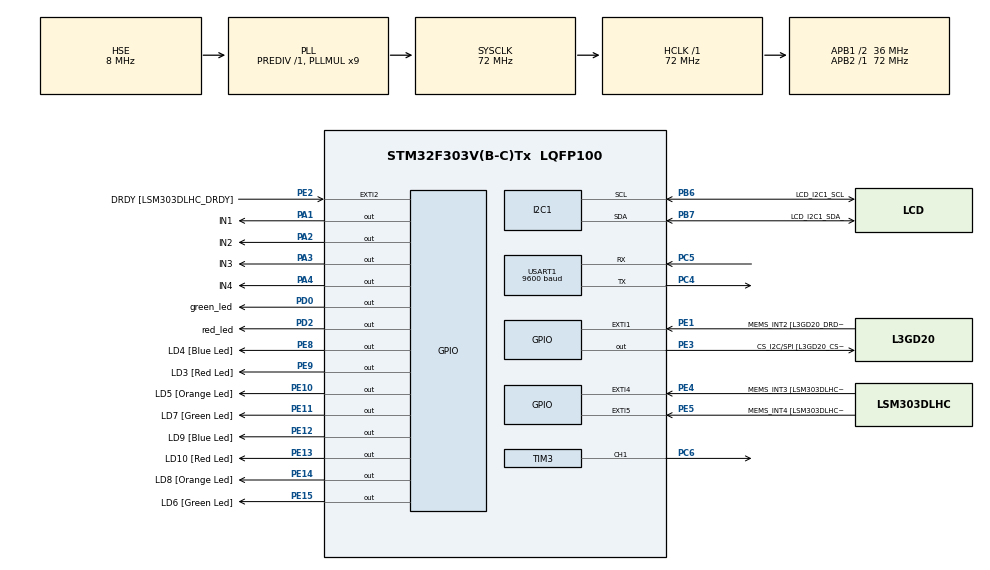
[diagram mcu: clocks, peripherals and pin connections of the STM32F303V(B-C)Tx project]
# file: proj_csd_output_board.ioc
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I2C1.Timing-I2C=0x2000090E
Mcu.Family=STM32F3
Mcu.Name=STM32F303V(B-C)Tx
Mcu.Package=LQFP100
NVIC.PriorityGroup=NVIC_PRIORITYGROUP_0
NVIC.USART1_IRQn=true\:0\:0\:false\:false\:true\:true\:true\:true
PA1.GPIO_Label=IN1
PA1.GPIO_Speed=GPIO_SPEED_FREQ_HIGH
PA1.Signal=GPIO_Output
PA11.GPIO_Label=DM
PA11.Signal=USB_DM
PA12.GPIO_Label=DP
PA12.Signal=USB_DP
PA13.GPIO_Label=SWDIO
PA13.Signal=SYS_JTMS-SWDIO
PA14.GPIO_Label=SWCLK
PA14.Signal=SYS_JTCK-SWCLK
PA2.GPIO_Label=IN2
PA2.GPIO_Speed=GPIO_SPEED_FREQ_HIGH
PA2.Signal=GPIO_Output
PA3.GPIO_Label=IN3
PA3.GPIO_Speed=GPIO_SPEED_FREQ_HIGH
PA3.Signal=GPIO_Output
PA4.GPIO_Label=IN4
PA4.GPIO_Speed=GPIO_SPEED_FREQ_HIGH
PA4.Signal=GPIO_Output
PA5.GPIO_Label=SPI1_SCK [L3GD20_SCL/SPC]
PA5.Signal=SPI1_SCK
PA6.GPIO_Label=SPI1_MISO [L3GD20_SA0/SDO]
PA6.Signal=SPI1_MISO
PA7.GPIO_Label=SPI1_MISO [L3GD20_SDA/SDI/SDO]
PA7.Signal=SPI1_MOSI
PB3.GPIO_Label=SWO
PB3.Signal=SYS_JTDO-TRACESWO
PB6.GPIO_Label=LCD_I2C1_SCL
PB6.GPIO_Pu=GPIO_PULLUP
PB6.Mode=I2C
PB6.Signal=I2C1_SCL
PB7.GPIO_Label=LCD_I2C1_SDA_
PB7.GPIO_Pu=GPIO_PULLUP
PB7.Mode=I2C
PB7.Signal=I2C1_SDA
PC14-OSC32_IN.GPIO_Label=OSC32_IN
PC14-OSC32_IN.Signal=RCC_OSC32_IN
PC15-OSC32_OUT.GPIO_Label=OSC32_OUT
PC15-OSC32_OUT.Signal=RCC_OSC32_OUT
PC4.GPIO_Speed=GPIO_SPEED_FREQ_LOW
PC4.Mode=Asynchronous
PC4.Signal=USART1_TX
PC5.GPIO_Speed=GPIO_SPEED_FREQ_LOW
PC5.Mode=Asynchronous
PC5.Signal=USART1_RX
PC6.Signal=S_TIM3_CH1
PD0.GPIO_Label=green_led
PD0.PinState=GPIO_PIN_SET
PD0.Signal=GPIO_Output
PD2.GPIO_Label=red_led
PD2.PinState=GPIO_PIN_SET
PD2.Signal=GPIO_Output
PE1.GPIO_Label=MEMS_INT2 [L3GD20_DRDY/INT2]
PE1.GPIO_ModeDefaultEXTI=GPIO_MODE_EVT_RISING
PE1.Signal=GPXTI1
PE10.GPIO_Label=LD5 [Orange Led]
PE10.Signal=GPIO_Output
PE11.GPIO_Label=LD7 [Green Led]
PE11.Signal=GPIO_Output
PE12.GPIO_Label=LD9 [Blue Led]
PE12.Signal=GPIO_Output
PE13.GPIO_Label=LD10 [Red Led]
PE13.Signal=GPIO_Output
PE14.GPIO_Label=LD8 [Orange Led]
PE14.Signal=GPIO_Output
PE15.GPIO_Label=LD6 [Green Led]
PE15.Signal=GPIO_Output
PE2.GPIO_Label=DRDY [LSM303DLHC_DRDY]
PE2.GPIO_ModeDefaultEXTI=GPIO_MODE_EVT_RISING
PE2.Signal=GPXTI2
PE3.GPIO_Label=CS_I2C/SPI [L3GD20_CS_I2C/SPI]
PE3.Signal=GPIO_Output
PE4.GPIO_Label=MEMS_INT3 [LSM303DLHC_INT1]
PE4.GPIO_ModeDefaultEXTI=GPIO_MODE_EVT_RISING
PE4.Signal=GPXTI4
PE5.GPIO_Label=MEMS_INT4 [LSM303DLHC_INT2]
PE5.GPIO_ModeDefaultEXTI=GPIO_MODE_EVT_RISING
PE5.Signal=GPXTI5
PE8.GPIO_Label=LD4 [Blue Led]
PE8.Signal=GPIO_Output
PE9.GPIO_Label=LD3 [Red Led]
PE9.Signal=GPIO_Output
PF0-OSC_IN.GPIO_Label=OSC_IN
PF0-OSC_IN.Mode=HSE-External-Clock-Source
PF0-OSC_IN.Signal=RCC_OSC_IN
PF1-OSC_OUT.GPIO_Label=OSC_OUT
PF1-OSC_OUT.Signal=RCC_OSC_OUT
ProjectManager.HeapSize=0x200
ProjectManager.StackSize=0x400
ProjectManager.TargetToolchain=STM32CubeIDE
RCC.AHBFreq_Value=72000000
RCC.APB1CLKDivider=RCC_HCLK_DIV2
RCC.APB1Freq_Value=36000000
RCC.APB1TimFreq_Value=72000000
RCC.APB2Freq_Value=72000000
RCC.APB2TimFreq_Value=72000000
RCC.CortexFreq_Value=72000000
RCC.HCLKFreq_Value=72000000
RCC.HSE_VALUE=8000000
RCC.HSI_VALUE=8000000
RCC.LSE_VALUE=32768
RCC.PLLMUL=RCC_PLL_MUL9
RCC.PLLSourceVirtual=RCC_PLLSOURCE_HSE
RCC.PRESCALERUSB=RCC_USBCLKSOURCE_PLL_DIV1_5
RCC.SYSCLKFreq_VALUE=72000000
RCC.SYSCLKSourceVirtual=RCC_SYSCLKSOURCE_PLLCLK
RCC.USBFreq_Value=48000000
SH.S_TIM3_CH1.0=TIM3_CH1,PWM Generation1 CH1
TIM2.Period=0xffffffff-1
TIM2.Prescaler=7200-1
TIM3.Channel-PWM\ Generation1\ CH1=TIM_CHANNEL_1
TIM3.Period=100-1
TIM3.Prescaler=1800-1
USART1.BaudRate=9600
USART1.VirtualMode-Asynchronous=VM_ASYNC
VP_TIM2_VS_ClockSourceINT.Mode=Internal
VP_TIM3_VS_ClockSourceINT.Mode=Internal
board=STM32F3DISCOVERY

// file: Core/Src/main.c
/* USER CODE BEGIN Header */
/**
  ******************************************************************************
  * @file           : main.c
  * @brief          : Main program body
  ******************************************************************************
  * @attention
  *
  * Copyright (c) 2022 STMicroelectronics.
  * All rights reserved.
  *
  * This software is licensed under terms that can be found in the LICENSE file
  * in the root directory of this software component.
  * If no LICENSE file comes with this software, it is provided AS-IS.
  *
  ******************************************************************************
  */
/* USER CODE END Header */
#include "main.h"

/* USER CODE BEGIN Includes */
#include "lcd_i2c.h"
#include "stepper_motor.h"
#include "timer.h"
/* USER CODE END Includes */

 I2C_HandleTypeDef hi2c1;

TIM_HandleTypeDef htim2;
TIM_HandleTypeDef htim3;

UART_HandleTypeDef huart1;

/* USER CODE BEGIN PV */
uint8_t recvbuffer[5]; //buffer di ricezione, conterrà il pin o la card utilizzato
uint8_t card[4] = {0x83, 0x16, 0xD4, 0x1E}; //UID card abilitata allo sblocco della serratura
uint8_t pass[4] = "1234"; //Pin abilitato allo sblocco della serratura
int cont = 0; //contatore di caratteri ricevuti
uint8_t flag_err; //riconosce se la sequenza trasmessa è valida oppure no (0x01 -> ERRORE, 0x00 -> OK)
uint8_t send = 0x00; //ACK da trasmettere per sbloccare il trasmettitore

/* USER CODE END PV */

void SystemClock_Config(void);
static void MX_GPIO_Init(void);
static void MX_I2C1_Init(void);
static void MX_TIM2_Init(void);
static void MX_USART1_UART_Init(void);
static void MX_TIM3_Init(void);

/* USER CODE BEGIN 0 */

uint8_t flag_compare_card(uint8_t * card_send){

		uint8_t flag = 0x00; //card errata -> 0x01; card corretta -> 0x00
		int i = 1;

		while(i<5 && flag != 0x01){

			if(card_send[i] != card[i-1]){
				flag = 0x01;
			}
			i=i+1;
		}
		return flag;

}

uint8_t flag_compare_pin(uint8_t * pin_send){

		uint8_t flag = 0x00; //pin errato -> 0x01; pin corretto -> 0x00
		int i = 1;

		while(i<5 && flag != 0x01){

			if(pin_send[i] != pass[i-1]){
				flag = 0x01;
			}
			i=i+1;
		}
		return flag;
}

void buzzer_on(){

		htim3.Instance->CCR1 = 50; // ON
		delay(4000); // wait for 400 ms
		htim3.Instance->CCR1 = 0; // OFF
}

void buzzer_err(){

		htim3.Instance->CCR1 = 50; // ON
		delay(1000); //wait for 100 ms
		htim3.Instance->CCR1 = 0; // OFF
		delay(1000); // wait for 100 ms
		htim3.Instance->CCR1 = 50; // ON
		delay(1000); // wait for 100 ms
		htim3.Instance->CCR1 = 0;
		delay(1000); // wait for 100 ms
		htim3.Instance->CCR1 = 50;
		delay(1000); // wait for 100 ms
		htim3.Instance->CCR1 = 0;
}

void reset_lcd(){

		lcd_clear();
		delay(1000); //wait 100 ms
		lcd_write("   INSERISCI   ");
		lcd_set_cursor(1, 0);
		lcd_write("   PIN O CARD   ");
}

void open_door(){

		lcd_clear();
		delay(1000); // wait 100 ms
		lcd_write("CARD/PIN: OK");
		buzzer_on();
		//GREEN LED ON
		HAL_GPIO_WritePin(GPIOD, GPIO_PIN_0, GPIO_PIN_RESET);

		delay(10000); // wait 1 s
		lcd_set_cursor(1, 0);
		lcd_write("APERTURA...");
		delay(1000); // wait 100 ms

		//STEP MOTOR
		stepper_step_angle (80, 1, 13); //open the door: 1 -> ruota in senso orario
		delay(10000); // wait 1 s

}

void close_door(){

		lcd_clear();
		delay(1000);
		lcd_set_cursor(1, 0);
		lcd_write("CHIUSURA...");
		delay(1000); //wait 100 ms
		stepper_step_angle (80, 0, 13); //close the door: 0 -> ruota in senso antiorario

		//GREEN LED OFF
		HAL_GPIO_WritePin(GPIOD, GPIO_PIN_0, GPIO_PIN_SET);
		delay(10000);

}

void card_pin_error(){

		//RED LED ON
		buzzer_err();
		HAL_GPIO_WritePin(GPIOD, GPIO_PIN_2, GPIO_PIN_RESET);
		lcd_clear();
		delay(1000); // wait for 100 ms
		lcd_write("CARD/PIN: ERRORE");
		delay(20000); // wait for 2 s
		//RED LED OFF
		HAL_GPIO_WritePin(GPIOD, GPIO_PIN_2, GPIO_PIN_SET);
}

void HAL_UART_RxCpltCallback(UART_HandleTypeDef * huart){

		cont = cont + 1;

		//WRITE ON LCD "PIN: ****"
		if(recvbuffer[0] == 0x00){
			switch(cont){
			case 1:
					lcd_clear();
					delay(1000);// wait 100 ms
					lcd_write("PIN: ");
					break;

			default:
					lcd_write("*");
					break;
			}
		}

		if(cont == 5) {

			switch(recvbuffer[0]){
			case 0x00:
						flag_err = flag_compare_pin(recvbuffer);
						break;
			case 0x01:
						flag_err = flag_compare_card(recvbuffer);
						break;
			default:
						break;
			}

			if(flag_err == 0x00){  //correct pin or card
				open_door();
				lcd_clear();
				delay(50000);// wait for 5 s
				close_door();
				delay(1000);//wait for 100 ms
				reset_lcd();

		}
		else { // wrong pin or card

				card_pin_error();
				reset_lcd();
		}

		  HAL_UART_Transmit(&huart1, &send, 1, HAL_MAX_DELAY);
		  cont = 0;
		  flag_err = 0x00;
		}
		  HAL_UART_Receive_IT(&huart1, &recvbuffer[cont], 1);  //rimettiamo il device in ricezione

}

/* USER CODE END 0 */

int main(void)
{

  /* MCU Configuration--------------------------------------------------------*/

  /* Reset of all peripherals, Initializes the Flash interface and the Systick. */
  HAL_Init();

  /* Configure the system clock */
  SystemClock_Config();

  /* Initialize all configured peripherals */
  MX_GPIO_Init();
  MX_I2C1_Init();
  MX_TIM2_Init();
  MX_USART1_UART_Init();
  MX_TIM3_Init();
  /* USER CODE BEGIN 2 */
  HAL_TIM_Base_Start(&htim2);
  HAL_TIM_PWM_Start(&htim3, TIM_CHANNEL_1);
  HAL_UART_Receive_IT(&huart1, recvbuffer, 1);
  lcd_init(&hi2c1);

  /* USER CODE END 2 */

  /* Infinite loop */
  /* USER CODE BEGIN WHILE */
  reset_lcd();

  while (1)
  {
    /* USER CODE END WHILE */

  }
}

void SystemClock_Config(void)
{
  RCC_OscInitTypeDef RCC_OscInitStruct = {0};
  RCC_ClkInitTypeDef RCC_ClkInitStruct = {0};
  RCC_PeriphCLKInitTypeDef PeriphClkInit = {0};

  /** Initializes the RCC Oscillators according to the specified parameters
  * in the RCC_OscInitTypeDef structure.
  */
  RCC_OscInitStruct.OscillatorType = RCC_OSCILLATORTYPE_HSI|RCC_OSCILLATORTYPE_HSE;
  RCC_OscInitStruct.HSEState = RCC_HSE_BYPASS;
  RCC_OscInitStruct.HSEPredivValue = RCC_HSE_PREDIV_DIV1;
  RCC_OscInitStruct.HSIState = RCC_HSI_ON;
  RCC_OscInitStruct.HSICalibrationValue = RCC_HSICALIBRATION_DEFAULT;
  RCC_OscInitStruct.PLL.PLLState = RCC_PLL_ON;
  RCC_OscInitStruct.PLL.PLLSource = RCC_PLLSOURCE_HSE;
  RCC_OscInitStruct.PLL.PLLMUL = RCC_PLL_MUL9;
  if (HAL_RCC_OscConfig(&RCC_OscInitStruct) != HAL_OK)
  {
    Error_Handler();
  }

  /** Initializes the CPU, AHB and APB buses clocks
  */
  RCC_ClkInitStruct.ClockType = RCC_CLOCKTYPE_HCLK|RCC_CLOCKTYPE_SYSCLK
                              |RCC_CLOCKTYPE_PCLK1|RCC_CLOCKTYPE_PCLK2;
  RCC_ClkInitStruct.SYSCLKSource = RCC_SYSCLKSOURCE_PLLCLK;
  RCC_ClkInitStruct.AHBCLKDivider = RCC_SYSCLK_DIV1;
  RCC_ClkInitStruct.APB1CLKDivider = RCC_HCLK_DIV2;
  RCC_ClkInitStruct.APB2CLKDivider = RCC_HCLK_DIV1;

  if (HAL_RCC_ClockConfig(&RCC_ClkInitStruct, FLASH_LATENCY_2) != HAL_OK)
  {
    Error_Handler();
  }
  PeriphClkInit.PeriphClockSelection = RCC_PERIPHCLK_USART1|RCC_PERIPHCLK_I2C1;
  PeriphClkInit.Usart1ClockSelection = RCC_USART1CLKSOURCE_PCLK2;
  PeriphClkInit.I2c1ClockSelection = RCC_I2C1CLKSOURCE_HSI;
  if (HAL_RCCEx_PeriphCLKConfig(&PeriphClkInit) != HAL_OK)
  {
    Error_Handler();
  }
}

static void MX_I2C1_Init(void)
{

  hi2c1.Instance = I2C1;
  hi2c1.Init.Timing = 0x2000090E;
  hi2c1.Init.OwnAddress1 = 0;
  hi2c1.Init.AddressingMode = I2C_ADDRESSINGMODE_7BIT;
  hi2c1.Init.DualAddressMode = I2C_DUALADDRESS_DISABLE;
  hi2c1.Init.OwnAddress2 = 0;
  hi2c1.Init.OwnAddress2Masks = I2C_OA2_NOMASK;
  hi2c1.Init.GeneralCallMode = I2C_GENERALCALL_DISABLE;
  hi2c1.Init.NoStretchMode = I2C_NOSTRETCH_DISABLE;
  if (HAL_I2C_Init(&hi2c1) != HAL_OK)
  {
    Error_Handler();
  }

  /** Configure Analogue filter
  */
  if (HAL_I2CEx_ConfigAnalogFilter(&hi2c1, I2C_ANALOGFILTER_ENABLE) != HAL_OK)
  {
    Error_Handler();
  }

  /** Configure Digital filter
  */
  if (HAL_I2CEx_ConfigDigitalFilter(&hi2c1, 0) != HAL_OK)
  {
    Error_Handler();
  }

}

static void MX_TIM2_Init(void)
{

  TIM_ClockConfigTypeDef sClockSourceConfig = {0};
  TIM_MasterConfigTypeDef sMasterConfig = {0};

  htim2.Instance = TIM2;
  htim2.Init.Prescaler = 7200-1;
  htim2.Init.CounterMode = TIM_COUNTERMODE_UP;
  htim2.Init.Period = 0xffffffff-1;
  htim2.Init.ClockDivision = TIM_CLOCKDIVISION_DIV1;
  htim2.Init.AutoReloadPreload = TIM_AUTORELOAD_PRELOAD_DISABLE;
  if (HAL_TIM_Base_Init(&htim2) != HAL_OK)
  {
    Error_Handler();
  }
  sClockSourceConfig.ClockSource = TIM_CLOCKSOURCE_INTERNAL;
  if (HAL_TIM_ConfigClockSource(&htim2, &sClockSourceConfig) != HAL_OK)
  {
    Error_Handler();
  }
  sMasterConfig.MasterOutputTrigger = TIM_TRGO_RESET;
  sMasterConfig.MasterSlaveMode = TIM_MASTERSLAVEMODE_DISABLE;
  if (HAL_TIMEx_MasterConfigSynchronization(&htim2, &sMasterConfig) != HAL_OK)
  {
    Error_Handler();
  }

}

static void MX_TIM3_Init(void)
{

  TIM_ClockConfigTypeDef sClockSourceConfig = {0};
  TIM_MasterConfigTypeDef sMasterConfig = {0};
  TIM_OC_InitTypeDef sConfigOC = {0};

  htim3.Instance = TIM3;
  htim3.Init.Prescaler = 1800-1;
  htim3.Init.CounterMode = TIM_COUNTERMODE_UP;
  htim3.Init.Period = 100-1;
  htim3.Init.ClockDivision = TIM_CLOCKDIVISION_DIV1;
  htim3.Init.AutoReloadPreload = TIM_AUTORELOAD_PRELOAD_DISABLE;
  if (HAL_TIM_Base_Init(&htim3) != HAL_OK)
  {
    Error_Handler();
  }
  sClockSourceConfig.ClockSource = TIM_CLOCKSOURCE_INTERNAL;
  if (HAL_TIM_ConfigClockSource(&htim3, &sClockSourceConfig) != HAL_OK)
  {
    Error_Handler();
  }
  if (HAL_TIM_PWM_Init(&htim3) != HAL_OK)
  {
    Error_Handler();
  }
  sMasterConfig.MasterOutputTrigger = TIM_TRGO_RESET;
  sMasterConfig.MasterSlaveMode = TIM_MASTERSLAVEMODE_DISABLE;
  if (HAL_TIMEx_MasterConfigSynchronization(&htim3, &sMasterConfig) != HAL_OK)
  {
    Error_Handler();
  }
  sConfigOC.OCMode = TIM_OCMODE_PWM1;
  sConfigOC.Pulse = 0;
  sConfigOC.OCPolarity = TIM_OCPOLARITY_HIGH;
  sConfigOC.OCFastMode = TIM_OCFAST_DISABLE;
  if (HAL_TIM_PWM_ConfigChannel(&htim3, &sConfigOC, TIM_CHANNEL_1) != HAL_OK)
  {
    Error_Handler();
  }
  HAL_TIM_MspPostInit(&htim3);

}

static void MX_USART1_UART_Init(void)
{

  huart1.Instance = USART1;
  huart1.Init.BaudRate = 9600;
  huart1.Init.WordLength = UART_WORDLENGTH_8B;
  huart1.Init.StopBits = UART_STOPBITS_1;
  huart1.Init.Parity = UART_PARITY_NONE;
  huart1.Init.Mode = UART_MODE_TX_RX;
  huart1.Init.HwFlowCtl = UART_HWCONTROL_NONE;
  huart1.Init.OverSampling = UART_OVERSAMPLING_16;
  huart1.Init.OneBitSampling = UART_ONE_BIT_SAMPLE_DISABLE;
  huart1.AdvancedInit.AdvFeatureInit = UART_ADVFEATURE_NO_INIT;
  if (HAL_UART_Init(&huart1) != HAL_OK)
  {
    Error_Handler();
  }

}

static void MX_GPIO_Init(void)
{
  GPIO_InitTypeDef GPIO_InitStruct = {0};

  /* GPIO Ports Clock Enable */
  __HAL_RCC_GPIOE_CLK_ENABLE();
  __HAL_RCC_GPIOC_CLK_ENABLE();
  __HAL_RCC_GPIOF_CLK_ENABLE();
  __HAL_RCC_GPIOA_CLK_ENABLE();
  __HAL_RCC_GPIOD_CLK_ENABLE();
  __HAL_RCC_GPIOB_CLK_ENABLE();

  /*Configure GPIO pin Output Level */
  HAL_GPIO_WritePin(GPIOE, CS_I2C_SPI_Pin|LD4_Pin|LD3_Pin|LD5_Pin
                          |LD7_Pin|LD9_Pin|LD10_Pin|LD8_Pin
                          |LD6_Pin, GPIO_PIN_RESET);

  /*Configure GPIO pin Output Level */
  HAL_GPIO_WritePin(GPIOA, IN1_Pin|IN2_Pin|IN3_Pin|IN4_Pin, GPIO_PIN_RESET);

  /*Configure GPIO pin Output Level */
  HAL_GPIO_WritePin(GPIOD, green_led_Pin|red_led_Pin, GPIO_PIN_SET);

  /*Configure GPIO pins : DRDY_Pin MEMS_INT3_Pin MEMS_INT4_Pin MEMS_INT2_Pin */
  GPIO_InitStruct.Pin = DRDY_Pin|MEMS_INT3_Pin|MEMS_INT4_Pin|MEMS_INT2_Pin;
  GPIO_InitStruct.Mode = GPIO_MODE_EVT_RISING;
  GPIO_InitStruct.Pull = GPIO_NOPULL;
  HAL_GPIO_Init(GPIOE, &GPIO_InitStruct);

  /*Configure GPIO pins : CS_I2C_SPI_Pin LD4_Pin LD3_Pin LD5_Pin
                           LD7_Pin LD9_Pin LD10_Pin LD8_Pin
                           LD6_Pin */
  GPIO_InitStruct.Pin = CS_I2C_SPI_Pin|LD4_Pin|LD3_Pin|LD5_Pin
                          |LD7_Pin|LD9_Pin|LD10_Pin|LD8_Pin
                          |LD6_Pin;
  GPIO_InitStruct.Mode = GPIO_MODE_OUTPUT_PP;
  GPIO_InitStruct.Pull = GPIO_NOPULL;
  GPIO_InitStruct.Speed = GPIO_SPEED_FREQ_LOW;
  HAL_GPIO_Init(GPIOE, &GPIO_InitStruct);

  /*Configure GPIO pins : IN1_Pin IN2_Pin IN3_Pin IN4_Pin */
  GPIO_InitStruct.Pin = IN1_Pin|IN2_Pin|IN3_Pin|IN4_Pin;
  GPIO_InitStruct.Mode = GPIO_MODE_OUTPUT_PP;
  GPIO_InitStruct.Pull = GPIO_NOPULL;
  GPIO_InitStruct.Speed = GPIO_SPEED_FREQ_HIGH;
  HAL_GPIO_Init(GPIOA, &GPIO_InitStruct);

  /*Configure GPIO pins : SPI1_SCK_Pin SPI1_MISO_Pin SPI1_MISOA7_Pin */
  GPIO_InitStruct.Pin = SPI1_SCK_Pin|SPI1_MISO_Pin|SPI1_MISOA7_Pin;
  GPIO_InitStruct.Mode = GPIO_MODE_AF_PP;
  GPIO_InitStruct.Pull = GPIO_NOPULL;
  GPIO_InitStruct.Speed = GPIO_SPEED_FREQ_HIGH;
  GPIO_InitStruct.Alternate = GPIO_AF5_SPI1;
  HAL_GPIO_Init(GPIOA, &GPIO_InitStruct);

  /*Configure GPIO pins : DM_Pin DP_Pin */
  GPIO_InitStruct.Pin = DM_Pin|DP_Pin;
  GPIO_InitStruct.Mode = GPIO_MODE_AF_PP;
  GPIO_InitStruct.Pull = GPIO_NOPULL;
  GPIO_InitStruct.Speed = GPIO_SPEED_FREQ_HIGH;
  GPIO_InitStruct.Alternate = GPIO_AF14_USB;
  HAL_GPIO_Init(GPIOA, &GPIO_InitStruct);

  /*Configure GPIO pins : green_led_Pin red_led_Pin */
  GPIO_InitStruct.Pin = green_led_Pin|red_led_Pin;
  GPIO_InitStruct.Mode = GPIO_MODE_OUTPUT_PP;
  GPIO_InitStruct.Pull = GPIO_NOPULL;
  GPIO_InitStruct.Speed = GPIO_SPEED_FREQ_LOW;
  HAL_GPIO_Init(GPIOD, &GPIO_InitStruct);

}

void Error_Handler(void)
{
  __disable_irq();
  while (1)
  {
  }
}
